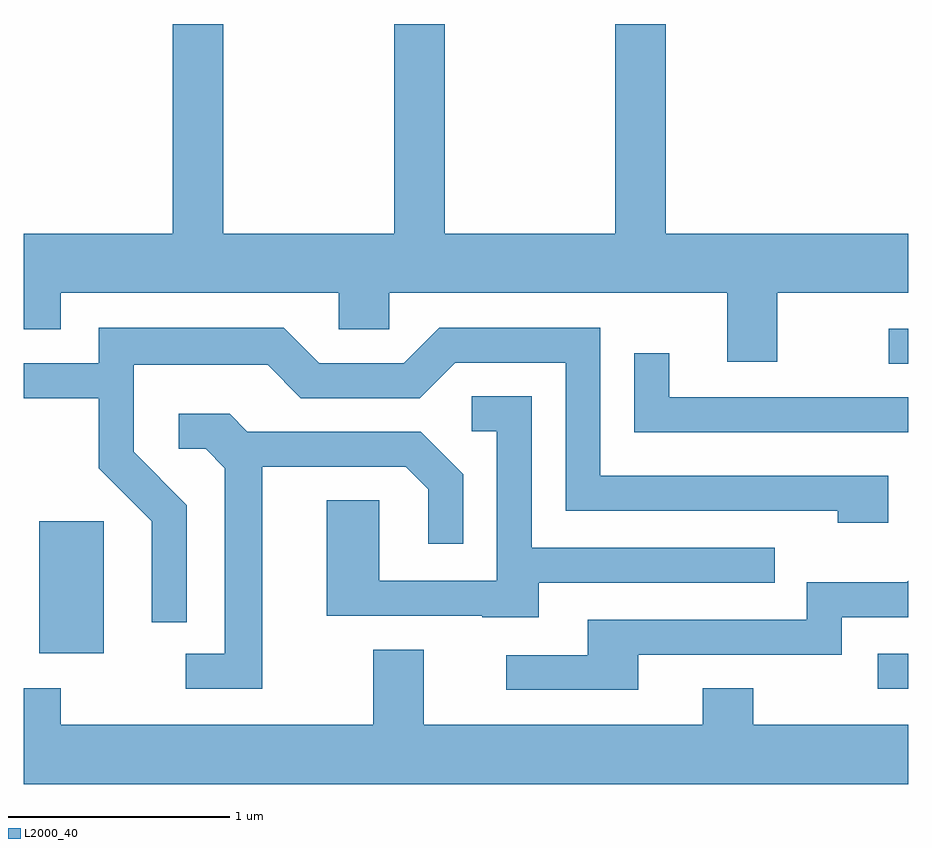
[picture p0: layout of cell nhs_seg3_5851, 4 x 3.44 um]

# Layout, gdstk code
import gdstk
lib = gdstk.Library(unit=1e-6, precision=1e-09)
def R(c, l, rs):  # rectangles x0, y0, x1, y1
    for r in rs: c.add(gdstk.rectangle(r[:2], r[2:], *l))
def P(c, l, *ps):  # polygons
    for p in ps: c.add(gdstk.Polygon(p, *l))
L2000_40 = (2000, 40)

nhs_seg3_5851 = lib.new_cell('nhs_seg3_5851')
R(nhs_seg3_5851, L2000_40, [(361.473,1130.886,361.611,1131.044), (357.681,1131.046,357.974,1131.644), (361.523,1132.356,361.611,1132.514)])
P(nhs_seg3_5851, L2000_40, [(361.019,1132.676),(361.611,1132.676),(361.611,1132.944),(360.514,1132.944),(360.514,1133.892),(360.286,1133.892),(360.286,1132.944),(359.514,1132.944),(359.514,1133.892),(359.286,1133.892),(359.286,1132.944),(358.514,1132.944),(358.514,1133.892),(358.286,1133.892),(358.286,1132.944),(357.611,1132.944),(357.611,1132.511),(357.779,1132.511),(357.779,1132.676),(359.036,1132.676),(359.036,1132.511),(359.264,1132.511),(359.264,1132.676),(360.791,1132.676),(360.791,1132.366),(361.019,1132.366)],
  [(358.349,1131.717),(358.109,1131.957),(358.109,1132.351),(358.714,1132.351),(358.864,1132.201),(359.402,1132.201),(359.562,1132.361),(360.061,1132.361),(360.061,1131.691),(361.291,1131.691),(361.291,1131.636),(361.519,1131.636),(361.519,1131.849),(360.219,1131.849),(360.219,1132.519),(359.489,1132.519),(359.329,1132.359),(358.947,1132.359),(358.787,1132.519),(357.951,1132.519),(357.951,1132.359),(357.611,1132.359),(357.611,1132.201),(357.951,1132.201),(357.951,1131.884),(358.191,1131.644),(358.191,1131.188),(358.349,1131.188)],
  [(361.611,1132.204),(360.529,1132.204),(360.529,1132.403),(360.371,1132.403),(360.371,1132.046),(361.611,1132.046)],
  [(359.939,1131.366),(361.008,1131.366),(361.008,1131.524),(359.909,1131.524),(359.909,1132.209),(359.638,1132.209),(359.638,1132.051),(359.751,1132.051),(359.751,1131.374),(359.219,1131.374),(359.219,1131.739),(358.981,1131.739),(358.981,1131.216),(359.685,1131.216),(359.685,1131.211),(359.939,1131.211)],
  [(358.689,1131.891),(359.339,1131.891),(359.441,1131.789),(359.441,1131.543),(359.599,1131.543),(359.599,1131.857),(359.407,1132.049),(358.622,1132.049),(358.542,1132.129),(358.313,1132.129),(358.313,1131.971),(358.434,1131.971),(358.521,1131.884),(358.521,1131.044),(358.343,1131.044),(358.343,1130.886),(358.689,1130.886)],
  [(360.389,1131.041),(361.309,1131.041),(361.309,1131.211),(361.611,1131.211),(361.611,1131.376),(361.604,1131.369),(361.151,1131.369),(361.151,1131.199),(360.161,1131.199),(360.161,1131.039),(359.793,1131.039),(359.793,1130.881),(360.389,1130.881)],
  [(361.611,1130.724),(360.909,1130.724),(360.909,1130.889),(360.681,1130.889),(360.681,1130.724),(359.419,1130.724),(359.419,1131.064),(359.191,1131.064),(359.191,1130.724),(357.779,1130.724),(357.779,1130.889),(357.611,1130.889),(357.611,1130.456),(361.611,1130.456)])

lib.write_gds('nhs_seg3_5851.gds')
